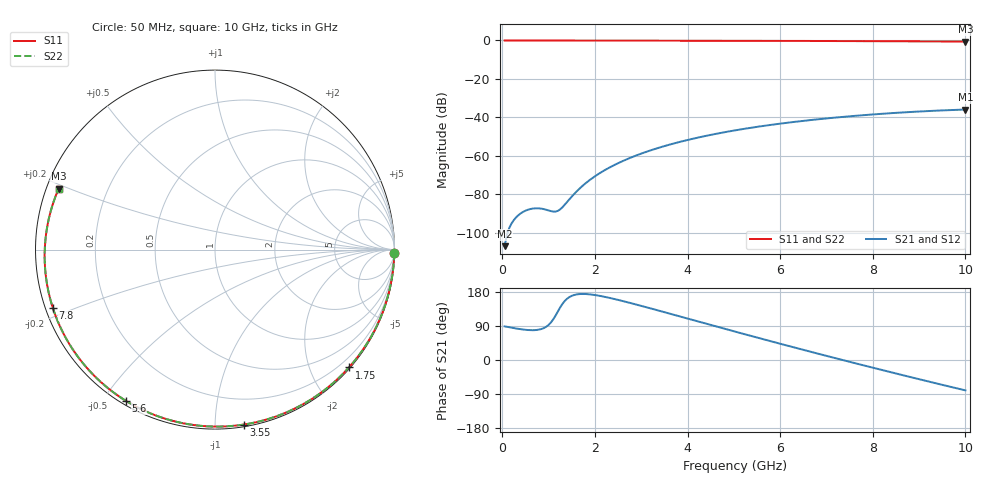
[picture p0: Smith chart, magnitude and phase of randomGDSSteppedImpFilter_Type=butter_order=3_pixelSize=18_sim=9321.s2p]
! freq	dB(S11)	phase(S11)	dB(S12)	phase(S12)
!  dB(S21)	phase(S21)	dB(S22)	phase(S22)
!S-par simulation data
#  GHz  S  DB  R 50
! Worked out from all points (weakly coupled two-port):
!   200 points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, 50 MHz to 10 GHz, reference 50 ohm
!   highest |S21| = -35.91 dB at 10 GHz (marker M1); lowest = -106.9 dB at 50 MHz (marker M2)
!   lowest |S11| = -0.6 dB at 10 GHz (marker M3), VSWR 29.71, Z = 1.74 + j9.38 ohm
!   |S11| at or under -10 dB: nowhere
!   |S22| runs from -0.6 to 0.0 dB; largest |S21 - S12| = 0
!   S11 on the Smith chart (normalised r, x): 50 MHz: 1, -98; 1.75 GHz: 0.02, -2.65; 3.55 GHz: 0.01, -1.18; 5.6 GHz: 0.01, -0.57; 7.8 GHz: 0.02, -0.17; 10 GHz: 0.03, +0.19
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0.05  -0.00 -1.2  -106.95 88.8  -106.95 88.8  -0.00 -1.2
0.4  -0.02 -9.6  -89.86 81.2  -89.86 81.2  -0.02 -9.6
0.75  -0.02 -18.0  -87.26 79.4  -87.26 79.4  -0.02 -18.0
1.1  -0.03 -26.3  -88.95 107.3  -88.95 107.3  -0.03 -26.3
1.5  -0.04 -35.6  -81.17 169.3  -81.17 169.3  -0.04 -35.6
1.55  -0.05 -36.8  -79.85 171.5  -79.85 171.5  -0.05 -36.8
1.75  -0.05 -41.4  -75.23 174.3  -75.23 174.3  -0.05 -41.4
2.05  -0.06 -48.2  -69.83 170.5  -69.83 170.5  -0.06 -48.2
2.45  -0.07 -57.1  -64.40 160.1  -64.40 160.1  -0.07 -57.1
2.9  -0.09 -66.9  -59.72 146.1  -59.72 146.1  -0.09 -66.9
3.4  -0.10 -77.5  -55.64 129.6  -55.64 129.6  -0.10 -77.5
3.55  -0.11 -80.6  -54.58 124.6  -54.58 124.6  -0.11 -80.6
4.3  -0.13 -95.7  -50.10 99.3  -50.10 99.3  -0.13 -95.7
5.05  -0.17 -110.3  -46.64 74.2  -46.64 74.2  -0.17 -110.3
5.6  -0.19 -120.6  -44.56 56.0  -44.56 56.0  -0.19 -120.6
6.15  -0.23 -130.7  -42.79 38.1  -42.79 38.1  -0.23 -130.7
6.7  -0.26 -140.6  -41.27 20.4  -41.27 20.4  -0.26 -140.6
7.25  -0.31 -150.5  -39.96 3.0  -39.96 3.0  -0.31 -150.5
7.8  -0.35 -160.3  -38.84 -14.1  -38.84 -14.1  -0.35 -160.3
8.35  -0.41 -170.2  -37.87 -31.0  -37.87 -31.0  -0.41 -170.2
9.2  -0.49 174.1  -36.70 -56.7  -36.70 -56.7  -0.49 174.1
10  -0.58 158.7  -35.91 -80.1  -35.91 -80.1  -0.59 158.7
